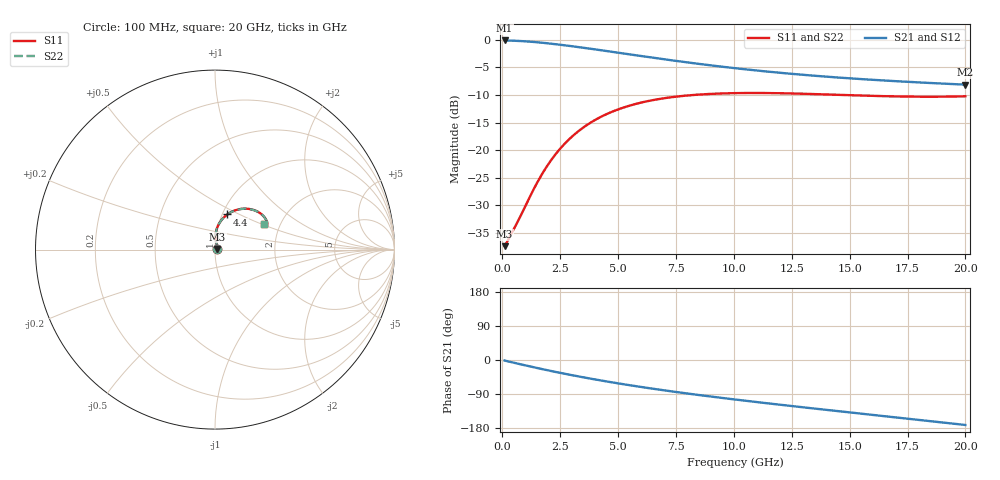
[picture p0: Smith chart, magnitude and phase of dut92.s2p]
! Touchstone file exported from HFSS 2024.1.0
!  File:  C:/UserFiles/LocalFiles/RDL_TSV_Batchsim/temp_RDL_TSV_92_1779417534.aedt
!  Generated:  10:56:53 AM May 22, 2026
!  Design:  RDL_TSV
!  Project:  temp_RDL_TSV_92_1779417534
!  Setup:  Setup1
!  Solution:  Sweep
! Variables:
!  dtsv = 5.62um
!  hbump = 3um
!  htsv = 97.28um
!  ldown = 313.57um
!  lrdl = 299.11um
!  p = 40
!  p1 = 52.76um
!  rhole = 10um
!  subl = 2137.15um
!  t = 450um
!  tdown = 2.59um
!  trdl = 4.22um
!  viad = 10um
!  wdown = 27.32um
!  wrdl = 16.7um
!  xbump = 18um
# GHz S MA R 50.000000
! Terminal data exported
! Port[1] = TM1_1_T1
! Port[2] = TM1_4_T1
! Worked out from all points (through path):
!   200 points, 100 MHz to 20 GHz, reference 50 ohm
!   highest |S21| = -0.12 dB at 100 MHz (marker M1); lowest = -8.1 dB at 20 GHz (marker M2)
!   group delay of S21, straight-line fit = 22.4 ps
!   lowest |S11| = -37.4 dB at 100 MHz (marker M3), VSWR 1.03, Z = 51.3 + j0.327 ohm
!   |S11| at or under -10 dB: start of sweep to 8.247 GHz; 14.73 GHz to end of sweep
!   |S22| runs from -37.4 to -9.6 dB; largest |S21 - S12| = 9.1e-15
!   S11 on the Smith chart (normalised r, x): 100 MHz: 1.03, +0.01; 4.4 GHz: 1.06, +0.43; 20 GHz: 1.65, +0.52
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0.1  0.01349 13.7  0.9866 -1.5  0.9866 -1.5  0.01349 13.7
! Gamma 0 0 0 0
! Port Impedance 50 0 50 0
0.5  0.01932 48.0  0.9811 -7.3  0.9811 -7.3  0.01932 48.0
0.9  0.02828 69.3  0.9717 -12.9  0.9717 -12.9  0.02828 69.2
1.4  0.04615 83.2  0.9545 -19.8  0.9545 -19.8  0.04612 83.2
1.9  0.07003 87.5  0.9326 -26.4  0.9326 -26.4  0.06997 87.5
2.2  0.08623 87.5  0.9179 -30.2  0.9179 -30.2  0.08614 87.5
2.6  0.109 85.8  0.8971 -35.2  0.8971 -35.2  0.1088 85.8
3  0.1321 83.1  0.8753 -40.0  0.8753 -40.0  0.132 83.1
3.5  0.1605 78.9  0.8474 -45.7  0.8474 -45.7  0.1604 78.9
3.9  0.1822 75.3  0.825 -50.2  0.825 -50.2  0.182 75.3
4.4  0.2073 70.7  0.7971 -55.5  0.7971 -55.5  0.207 70.7
5.5  0.2533 61.2  0.7382 -66.5  0.7382 -66.5  0.253 61.1
6.8  0.2914 51.3  0.6749 -78.4  0.6749 -78.4  0.2911 51.3
7.6  0.3071 46.2  0.64 -85.2  0.64 -85.2  0.3067 46.1
8.4  0.318 41.7  0.6085 -91.7  0.6085 -91.7  0.3176 41.6
10.1  0.3289 34.1  0.5516 -104.6  0.5516 -104.6  0.3285 34.0
11.7  0.3288 29.1  0.5094 -116.0  0.5094 -116.0  0.3284 29.0
13.4  0.3227 25.8  0.474 -127.6  0.474 -127.6  0.3224 25.7
15  0.3149 24.4  0.4477 -138.3  0.4477 -138.3  0.3146 24.3
16.7  0.3078 24.5  0.4253 -149.6  0.4253 -149.6  0.3075 24.4
18.3  0.3048 25.8  0.4079 -160.2  0.4079 -160.2  0.3045 25.6
20  0.3076 27.8  0.3923 -171.5  0.3923 -171.5  0.3073 27.6
